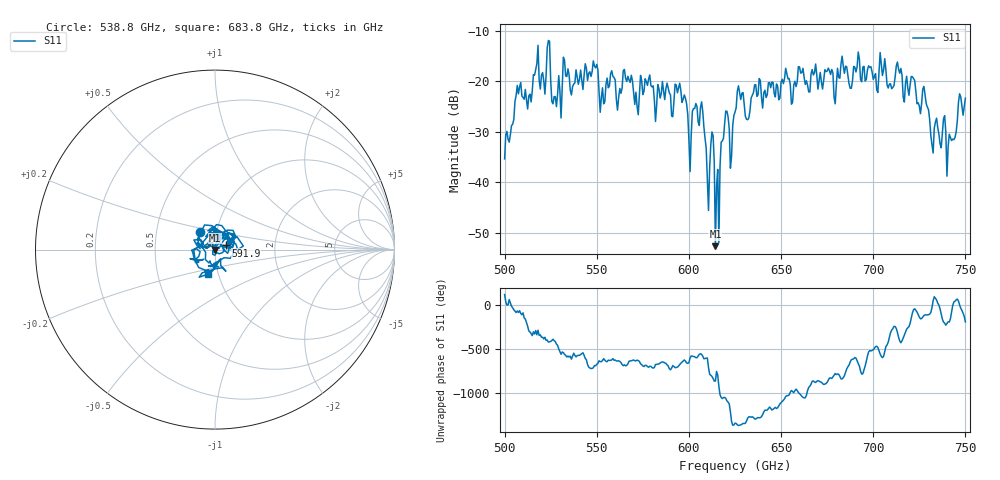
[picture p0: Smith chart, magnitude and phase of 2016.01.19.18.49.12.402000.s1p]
!Created with skrf (http://scikit-rf.org).
# GHz S RI R 50.0
!freq ReS11 ImS11
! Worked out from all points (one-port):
!   401 points, 500 GHz to 750 GHz, reference 50 ohm
!   lowest |S11| = -52.6 dB at 614.4 GHz (marker M1), VSWR 1.00, Z = 49.8 - j0.138 ohm
!   |S11| at or under -10 dB: start of sweep to end of sweep
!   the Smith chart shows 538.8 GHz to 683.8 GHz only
!   S11 on the Smith chart (normalised r, x): 538.8 GHz: 0.83, +0.17; 591.9 GHz: 1.12, +0.05; 683.8 GHz: 0.89, -0.25
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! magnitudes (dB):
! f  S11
! 500 GHz  -35.3
! 507.5 GHz  -22.5
! 513.1 GHz  -22.9
! 516.9 GHz  -17.7
! 520.6 GHz  -18.3
! 523.8 GHz  -11.9
! 526.9 GHz  -23.0
! 531.2 GHz  -21.1
! 538.8 GHz  -17.7
! 549.4 GHz  -17.4
! 562.5 GHz  -21.4
! 591.9 GHz  -23.9
! 593.8 GHz  -22.3
! 600.6 GHz  -37.9
! 607.5 GHz  -25.9
! 610 GHz  -39.2
! 612.5 GHz  -30.0
! 614.4 GHz  -52.6
! 615.6 GHz  -37.4
! 619.4 GHz  -28.4
! 623.1 GHz  -34.9
! 625 GHz  -26.1
! 656.2 GHz  -24.1
! 683.8 GHz  -17.0
! 687.5 GHz  -21.4
! 718.8 GHz  -21.3
! 741.2 GHz  -30.5
! 750 GHz  -23.3
